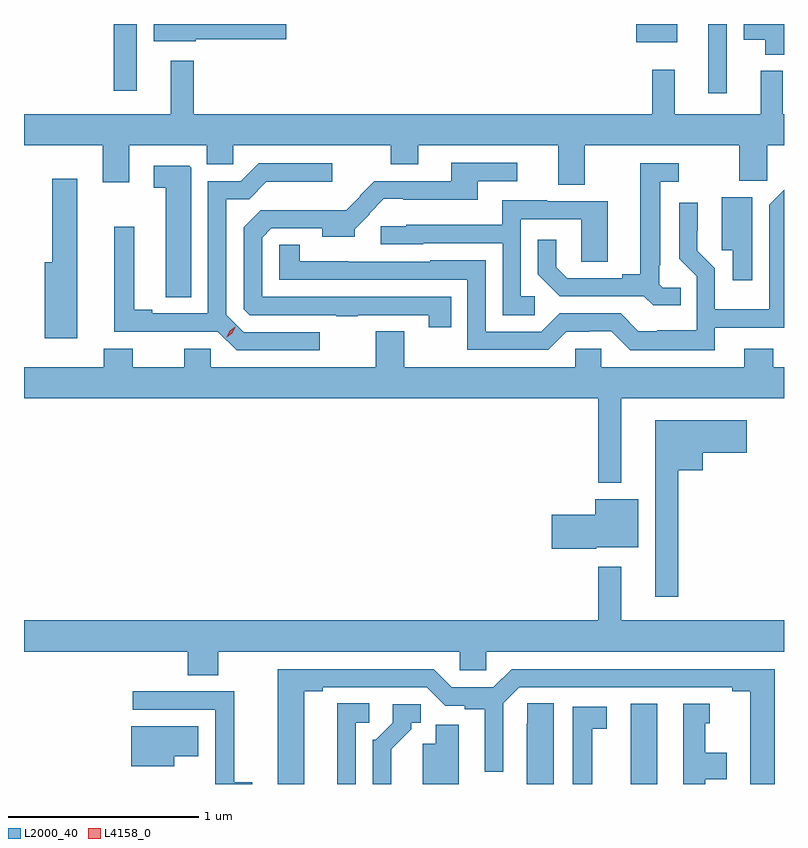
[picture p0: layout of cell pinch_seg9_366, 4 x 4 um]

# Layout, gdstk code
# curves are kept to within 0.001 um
import gdstk
lib = gdstk.Library(unit=1e-6, precision=1e-09)
def R(c, l, rs):  # rectangles x0, y0, x1, y1
    for r in rs: c.add(gdstk.rectangle(r[:2], r[2:], *l))
def P(c, l, *ps):  # polygons
    for p in ps: c.add(gdstk.Polygon(p, *l))
L2000_40 = (2000, 40)
L4158_0 = (4158, 0)

pinch_seg9_366 = lib.new_cell('pinch_seg9_366')
R(pinch_seg9_366, L2000_40, [(278.768,1215.703,278.908,1216.126), (279.176,1219.338,279.273,1219.703), (276.048,1219.353,276.169,1219.703), (278.798,1219.607,279.013,1219.703)])
P(pinch_seg9_366, L2000_40, [(279.575,1219.703),(279.362,1219.703),(279.362,1219.619),(279.476,1219.619),(279.476,1219.541),(279.575,1219.541)],
  [(276.48,1219.624),(276.955,1219.624),(276.955,1219.703),(276.257,1219.703),(276.257,1219.613),(276.48,1219.613)],
  [(278.527,1219.064),(279.34,1219.064),(279.34,1218.877),(279.486,1218.877),(279.486,1219.064),(279.575,1219.064),(279.575,1219.228),(279.569,1219.228),(279.569,1219.456),(279.452,1219.456),(279.452,1219.228),(278.999,1219.228),(278.999,1219.462),(278.881,1219.462),(278.881,1219.228),(276.469,1219.228),(276.469,1219.51),(276.347,1219.51),(276.347,1219.228),(275.575,1219.228),(275.575,1219.064),(275.99,1219.064),(275.99,1218.87),(276.13,1218.87),(276.13,1219.064),(276.536,1219.064),(276.536,1218.966),(276.675,1218.966),(276.675,1219.064),(277.504,1219.064),(277.504,1218.965),(277.651,1218.965),(277.651,1219.064),(278.387,1219.064),(278.387,1218.856),(278.527,1218.856)],
  [(277.823,1218.267),(276.828,1218.267),(276.828,1218.579),(276.876,1218.627),(277.145,1218.627),(277.145,1218.584),(277.316,1218.584),(277.316,1218.624),(277.395,1218.702),(277.392,1218.705),(277.469,1218.782),(277.57,1218.782),(277.57,1218.779),(277.963,1218.779),(277.963,1218.876),(278.17,1218.876),(278.17,1218.972),(277.823,1218.972),(277.823,1218.876),(277.419,1218.876),(277.343,1218.799),(277.345,1218.797),(277.271,1218.724),(276.937,1218.724),(276.937,1218.722),(276.821,1218.722),(276.732,1218.633),(276.732,1218.201),(276.762,1218.171),(277.219,1218.171),(277.219,1218.166),(277.331,1218.166),(277.331,1218.171),(277.705,1218.171),(277.705,1218.108),(277.823,1218.108)],
  [(279.032,1218.315),(278.937,1218.315),(278.919,1218.333),(278.919,1218.433),(278.923,1218.433),(278.923,1218.873),(279.022,1218.873),(279.022,1218.969),(278.819,1218.969),(278.819,1218.386),(278.723,1218.386),(278.723,1218.366),(278.434,1218.366),(278.377,1218.423),(278.377,1218.568),(278.28,1218.568),(278.28,1218.386),(278.396,1218.27),(278.838,1218.27),(278.886,1218.223),(279.032,1218.223)],
  [(277.132,1218.081),(276.732,1218.081),(276.639,1218.174),(276.639,1218.781),(276.76,1218.781),(276.851,1218.872),(277.198,1218.872),(277.198,1218.969),(276.81,1218.969),(276.717,1218.876),(276.543,1218.876),(276.543,1218.18),(276.25,1218.18),(276.25,1218.2),(276.154,1218.2),(276.154,1218.637),(276.05,1218.637),(276.05,1218.084),(276.596,1218.084),(276.695,1217.985),(277.132,1217.985)],
  [(276.454,1218.947),(276.444,1218.957),(276.258,1218.957),(276.258,1218.841),(276.32,1218.841),(276.32,1218.265),(276.454,1218.265)],
  [(275.854,1218.889),(275.723,1218.889),(275.723,1218.448),(275.684,1218.448),(275.684,1218.05),(275.854,1218.05)],
  [(279.211,1218.105),(279.575,1218.105),(279.575,1218.83),(279.498,1218.753),(279.498,1218.202),(279.21,1218.202),(279.21,1218.418),(279.119,1218.51),(279.12,1218.763),(279.024,1218.763),(279.024,1218.468),(279.117,1218.375),(279.117,1218.091),(278.908,1218.091),(278.908,1218.087),(278.808,1218.087),(278.715,1218.18),(278.394,1218.18),(278.298,1218.084),(278.004,1218.084),(278.004,1218.46),(277.713,1218.46),(277.713,1218.453),(277.027,1218.454),(277.027,1218.542),(276.918,1218.542),(276.918,1218.357),(277.908,1218.357),(277.908,1217.988),(278.334,1217.988),(278.43,1218.084),(278.55,1218.084),(278.55,1218.087),(278.667,1218.087),(278.767,1217.987),(279.211,1217.987)],
  [(279.409,1218.792),(279.248,1218.792),(279.248,1218.513),(279.305,1218.513),(279.305,1218.354),(279.409,1218.354)],
  [(278.263,1218.27),(278.19,1218.27),(278.19,1218.675),(278.508,1218.675),(278.508,1218.451),(278.647,1218.451),(278.647,1218.771),(278.329,1218.771),(278.329,1218.775),(278.093,1218.775),(278.093,1218.646),(277.587,1218.646),(277.587,1218.639),(277.452,1218.639),(277.452,1218.543),(277.677,1218.543),(277.677,1218.549),(278.094,1218.549),(278.094,1218.169),(278.263,1218.169)],
  [(278.719,1217.732),(279.575,1217.732),(279.575,1217.896),(279.518,1217.896),(279.518,1217.995),(279.365,1217.995),(279.365,1217.896),(278.613,1217.896),(278.613,1217.994),(278.475,1217.994),(278.475,1217.896),(277.575,1217.896),(277.575,1218.086),(277.427,1218.086),(277.427,1217.896),(276.558,1217.896),(276.558,1217.994),(276.419,1217.994),(276.419,1217.896),(276.148,1217.896),(276.148,1217.995),(275.996,1217.995),(275.996,1217.896),(275.575,1217.896),(275.575,1217.732),(278.598,1217.732),(278.598,1217.288),(278.719,1217.288)],
  [(279.019,1217.354),(279.148,1217.354),(279.148,1217.447),(279.379,1217.447),(279.379,1217.617),(278.897,1217.617),(278.897,1216.689),(279.019,1216.689)],
  [(278.586,1216.949),(278.809,1216.949),(278.809,1217.203),(278.582,1217.203),(278.582,1217.12),(278.352,1217.12),(278.352,1216.942),(278.586,1216.942)],
  [(276.597,1216.4),(277.869,1216.4),(277.869,1216.302),(278.007,1216.302),(278.007,1216.4),(279.575,1216.4),(279.575,1216.564),(278.719,1216.564),(278.719,1216.846),(278.598,1216.846),(278.598,1216.564),(275.575,1216.564),(275.575,1216.4),(276.437,1216.4),(276.437,1216.276),(276.597,1216.276)],
  [(277.051,1216.192),(277.147,1216.192),(277.147,1216.212),(277.695,1216.212),(277.791,1216.116),(277.896,1216.116),(277.896,1216.096),(278,1216.096),(278,1215.768),(278.097,1215.768),(278.097,1216.128),(278.181,1216.212),(279.302,1216.212),(279.302,1216.192),(279.398,1216.192),(279.398,1215.703),(279.526,1215.703),(279.526,1216.308),(278.141,1216.308),(278.045,1216.212),(277.827,1216.212),(277.731,1216.308),(276.911,1216.308),(276.911,1215.703),(277.051,1215.703)],
  [(276.775,1215.713),(276.681,1215.713),(276.681,1216.191),(276.147,1216.191),(276.147,1216.095),(276.582,1216.095),(276.582,1215.703),(276.775,1215.703)],
  [(278.362,1216.127),(278.223,1216.127),(278.223,1216.019),(278.222,1216.019),(278.222,1215.703),(278.362,1215.703)],
  [(277.32,1216.026),(277.393,1216.026),(277.393,1216.127),(277.223,1216.127),(277.223,1215.703),(277.32,1215.703)],
  [(279.16,1215.728),(279.274,1215.728),(279.274,1215.868),(279.16,1215.868),(279.16,1216.023),(279.184,1216.023),(279.184,1216.126),(279.044,1216.126),(279.044,1215.703),(279.16,1215.703)],
  [(277.507,1215.886),(277.612,1215.991),(277.612,1216.026),(277.662,1216.026),(277.662,1216.122),(277.515,1216.122),(277.515,1216.026),(277.425,1215.936),(277.41,1215.936),(277.41,1215.703),(277.507,1215.703)],
  [(278.566,1215.994),(278.641,1215.994),(278.641,1216.11),(278.462,1216.11),(278.462,1215.703),(278.566,1215.703)],
  [(277.864,1216.014),(277.742,1216.014),(277.742,1215.916),(277.673,1215.916),(277.673,1215.703),(277.864,1215.703)],
  [(276.367,1215.848),(276.493,1215.848),(276.493,1216.006),(276.14,1216.006),(276.14,1215.797),(276.367,1215.797)])
P(pinch_seg9_366, L4158_0, [(276.641,1218.054),(276.641,1218.054),(276.657,1218.088),(276.688,1218.109),(276.688,1218.109),(276.688,1218.108),(276.672,1218.075),(276.641,1218.054)])

lib.write_gds('pinch_seg9_366.gds')
